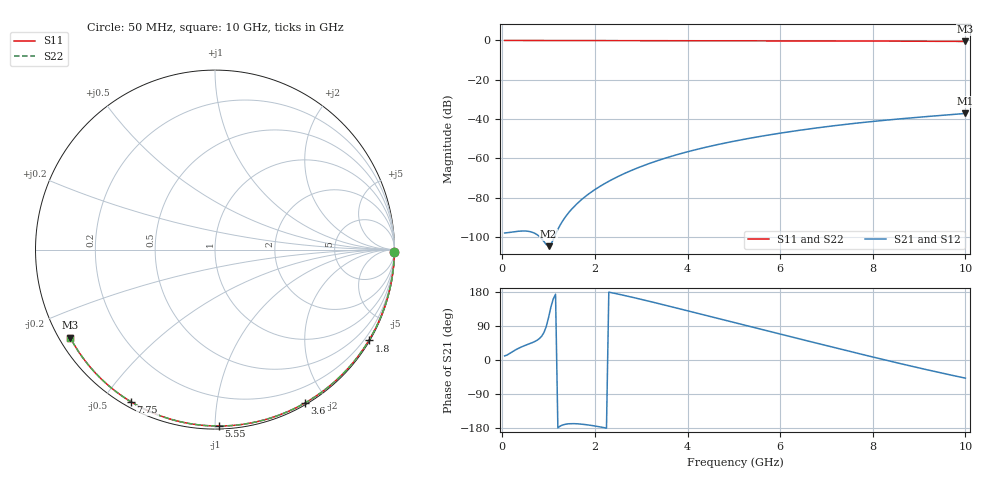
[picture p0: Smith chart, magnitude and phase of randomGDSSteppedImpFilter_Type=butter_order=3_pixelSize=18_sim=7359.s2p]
! freq	dB(S11)	phase(S11)	dB(S12)	phase(S12)
!  dB(S21)	phase(S21)	dB(S22)	phase(S22)
!S-par simulation data
#  GHz  S  DB  R 50
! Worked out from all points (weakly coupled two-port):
!   200 points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, 50 MHz to 10 GHz, reference 50 ohm
!   highest |S21| = -37.19 dB at 10 GHz (marker M1); lowest = -104.8 dB at 1 GHz (marker M2)
!   lowest |S11| = -0.5 dB at 10 GHz (marker M3), VSWR 34.81, Z = 1.55 - j14 ohm
!   |S11| at or under -10 dB: nowhere
!   |S22| runs from -0.5 to 0.0 dB; largest |S21 - S12| = 0
!   S11 on the Smith chart (normalised r, x): 50 MHz: open; 1.8 GHz: 0.03, -3.66; 3.6 GHz: 0.02, -1.75; 5.55 GHz: 0.02, -1.02; 7.75 GHz: 0.02, -0.59; 10 GHz: 0.03, -0.28
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0.05  -0.00 -0.9  -98.06 10.8  -98.06 10.8  -0.00 -0.9
0.5  -0.01 -8.6  -97.07 38.8  -97.07 38.8  -0.01 -8.6
1  -0.02 -17.1  -104.79 112.5  -104.79 112.5  -0.02 -17.1
1.75  -0.04 -29.7  -80.31 -169.8  -80.31 -169.8  -0.04 -29.7
1.8  -0.04 -30.6  -79.36 -170.5  -79.36 -170.5  -0.04 -30.6
1.95  -0.04 -33.0  -76.76 -173.1  -76.76 -173.1  -0.04 -33.0
2.1  -0.05 -35.5  -74.46 -176.2  -74.46 -176.2  -0.05 -35.5
2.3  -0.05 -38.8  -71.73 179.1  -71.73 179.1  -0.05 -38.8
2.5  -0.05 -42.1  -69.30 174.0  -69.30 174.0  -0.05 -42.1
2.9  -0.06 -48.5  -65.13 162.9  -65.13 162.9  -0.06 -48.5
3.4  -0.08 -56.4  -60.85 148.2  -60.85 148.2  -0.08 -56.4
3.6  -0.08 -59.6  -59.37 142.1  -59.37 142.1  -0.08 -59.6
4.3  -0.10 -70.3  -54.92 120.6  -54.92 120.6  -0.10 -70.3
5.05  -0.13 -81.4  -51.11 97.4  -51.11 97.4  -0.13 -81.4
5.55  -0.15 -88.7  -48.96 82.1  -48.96 82.1  -0.15 -88.7
6.1  -0.17 -96.5  -46.86 65.3  -46.86 65.3  -0.17 -96.5
6.7  -0.20 -104.8  -44.84 47.1  -44.84 47.1  -0.20 -104.8
7.2  -0.24 -111.6  -43.34 31.9  -43.34 31.9  -0.24 -111.6
7.75  -0.28 -119.0  -41.87 15.4  -41.87 15.4  -0.28 -119.0
8.35  -0.33 -126.9  -40.45 -2.4  -40.45 -2.4  -0.33 -126.9
9.2  -0.41 -138.1  -38.70 -26.5  -38.70 -26.5  -0.41 -138.1
10  -0.50 -148.6  -37.19 -47.9  -37.19 -47.9  -0.50 -148.6
